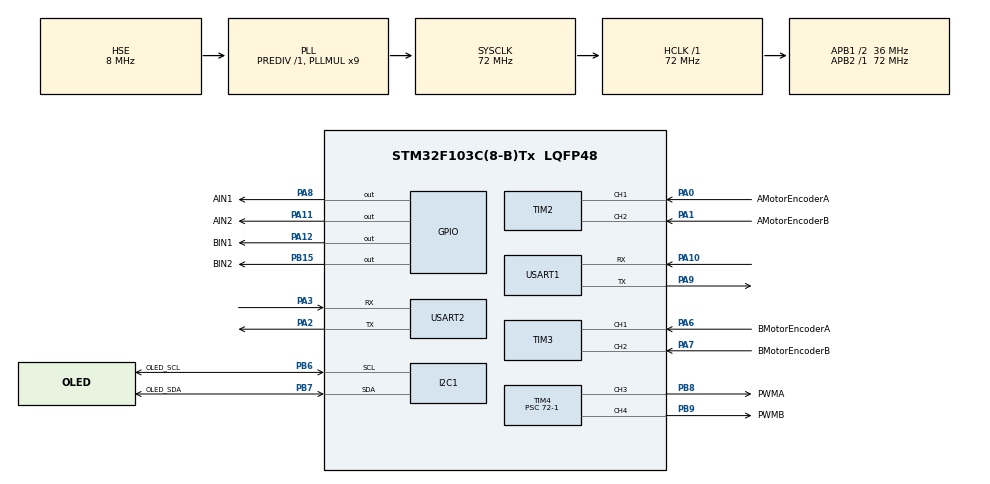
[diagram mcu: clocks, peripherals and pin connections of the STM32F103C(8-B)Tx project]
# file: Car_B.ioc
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Mcu.Family=STM32F1
Mcu.Name=STM32F103C(8-B)Tx
Mcu.Package=LQFP48
NVIC.PriorityGroup=NVIC_PRIORITYGROUP_4
NVIC.TIM1_UP_IRQn=true\:0\:0\:false\:false\:true\:true\:true\:true
PA0-WKUP.GPIO_Label=AMotorEncoderA
PA0-WKUP.Signal=S_TIM2_CH1_ETR
PA1.GPIO_Label=AMotorEncoderB
PA1.Signal=S_TIM2_CH2
PA10.Mode=Asynchronous
PA10.Signal=USART1_RX
PA11.GPIO_Label=AIN2
PA11.Signal=GPIO_Output
PA12.GPIO_Label=BIN1
PA12.Signal=GPIO_Output
PA13.Mode=Serial_Wire
PA13.Signal=SYS_JTMS-SWDIO
PA14.Mode=Serial_Wire
PA14.Signal=SYS_JTCK-SWCLK
PA2.Mode=Asynchronous
PA2.Signal=USART2_TX
PA3.Mode=Asynchronous
PA3.Signal=USART2_RX
PA6.GPIO_Label=BMotorEncoderA
PA6.Signal=S_TIM3_CH1
PA7.GPIO_Label=BMotorEncoderB
PA7.Signal=S_TIM3_CH2
PA8.GPIO_Label=AIN1
PA8.Signal=GPIO_Output
PA9.Mode=Asynchronous
PA9.Signal=USART1_TX
PB15.GPIO_Label=BIN2
PB15.Signal=GPIO_Output
PB6.GPIO_Label=OLED_SCL
PB6.Mode=I2C
PB6.Signal=I2C1_SCL
PB7.GPIO_Label=OLED_SDA
PB7.Mode=I2C
PB7.Signal=I2C1_SDA
PB8.GPIO_Label=PWMA
PB8.Signal=S_TIM4_CH3
PB9.GPIO_Label=PWMB
PB9.Signal=S_TIM4_CH4
PC14-OSC32_IN.Mode=LSE-External-Oscillator
PC14-OSC32_IN.Signal=RCC_OSC32_IN
PC15-OSC32_OUT.Mode=LSE-External-Oscillator
PC15-OSC32_OUT.Signal=RCC_OSC32_OUT
PD0-OSC_IN.Mode=HSE-External-Oscillator
PD0-OSC_IN.Signal=RCC_OSC_IN
PD1-OSC_OUT.Mode=HSE-External-Oscillator
PD1-OSC_OUT.Signal=RCC_OSC_OUT
ProjectManager.HeapSize=0x200
ProjectManager.StackSize=0x400
ProjectManager.TargetToolchain=MDK-ARM V5.32
RCC.AHBFreq_Value=72000000
RCC.APB1CLKDivider=RCC_HCLK_DIV2
RCC.APB1Freq_Value=36000000
RCC.APB1TimFreq_Value=72000000
RCC.APB2Freq_Value=72000000
RCC.APB2TimFreq_Value=72000000
RCC.HCLKFreq_Value=72000000
RCC.PLLMUL=RCC_PLL_MUL9
RCC.PLLSourceVirtual=RCC_PLLSOURCE_HSE
RCC.SYSCLKFreq_VALUE=72000000
RCC.SYSCLKSource=RCC_SYSCLKSOURCE_PLLCLK
RCC.USBFreq_Value=72000000
SH.S_TIM2_CH1_ETR.0=TIM2_CH1,Encoder_Interface
SH.S_TIM2_CH2.0=TIM2_CH2,Encoder_Interface
SH.S_TIM3_CH1.0=TIM3_CH1,Encoder_Interface
SH.S_TIM3_CH2.0=TIM3_CH2,Encoder_Interface
SH.S_TIM4_CH3.0=TIM4_CH3,PWM Generation3 CH3
SH.S_TIM4_CH4.0=TIM4_CH4,PWM Generation4 CH4
TIM1.AutoReloadPreload=TIM_AUTORELOAD_PRELOAD_ENABLE
TIM1.Period=10000-1
TIM1.Prescaler=72-1
TIM2.AutoReloadPreload=TIM_AUTORELOAD_PRELOAD_ENABLE
TIM2.EncoderMode=TIM_ENCODERMODE_TI12
TIM3.EncoderMode=TIM_ENCODERMODE_TI12
TIM4.Channel-PWM\ Generation3\ CH3=TIM_CHANNEL_3
TIM4.Channel-PWM\ Generation4\ CH4=TIM_CHANNEL_4
TIM4.Period=100-1
TIM4.Prescaler=72-1
USART1.VirtualMode=VM_ASYNC
USART2.VirtualMode=VM_ASYNC
VP_TIM1_VS_ClockSourceINT.Mode=Internal
VP_TIM4_VS_ClockSourceINT.Mode=Internal
board=custom

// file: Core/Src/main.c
/* USER CODE BEGIN Header */
/**
 ******************************************************************************
 * @file           : main.c
 * @brief          : Main program body
 ******************************************************************************
 * @attention
 *
 * Copyright (c) 2023 STMicroelectronics.
 * All rights reserved.
 *
 * This software is licensed under terms that can be found in the LICENSE file
 * in the root directory of this software component.
 * If no LICENSE file comes with this software, it is provided AS-IS.
 *
 ******************************************************************************
 */
/* USER CODE END Header */
#include "main.h"
#include "i2c.h"
#include "tim.h"
#include "usart.h"
#include "gpio.h"

/* USER CODE BEGIN Includes */
#include "motor.h"
#include "pid.h"
#include "oled.h"
#include "stdio.h"
#include "string.h"
/* USER CODE END Includes */

/* USER CODE BEGIN PTD */
PID leftMotor_PID;
PID rightMotor_PID;
PID trailMotor_PID;
/* USER CODE END PTD */

/* USER CODE BEGIN PV */
int testPWM = 20;
char voltage[20];
char mpuString[10];
char speedString[22];
char CCDString[20];
char colorPostion[20];
int tim1Count = 0; // 中断计时
float batteryVoltage = 0.0;

short encoderPulse[2] = {0}; // 编码器脉冲数
float leftSpeed = 0, rightSpeed = 0;

float leftTargetSpeed = 0.10, rightTargetSpeed = 0.10;

uint8_t Uart2RxBuff;         // 进入中断接收数据的数组
uint8_t Uart2DataBuff[5000]; // 保存接收到的数据的数组
int RxLine = 0;              // 接收到的数据长度
int Uart2RxFlag = 0;         // 串口2接收标志位

int RedX = 0, RedY = 0;
int Basic_1_Status = 0, Basic_2_Status = 0;

int girdsNum = -1;      // 格子数量
int girdsNumStatus = 0; // 格子数量状态量，用于判断是否持续扫描到黑线
int backStatus = 0;     // 基础1返程标志

int ledGreenCount = 0;
int ledRedCount = 0;
int mode[5] = {0};
/* USER CODE END PV */

void SystemClock_Config(void);

int main(void)
{

  /* MCU Configuration--------------------------------------------------------*/

  /* Reset of all peripherals, Initializes the Flash interface and the Systick. */
  HAL_Init();

  /* Configure the system clock */
  SystemClock_Config();

  /* Initialize all configured peripherals */
  MX_GPIO_Init();
  MX_I2C1_Init();
  MX_TIM1_Init();
  MX_TIM2_Init();
  MX_TIM3_Init();
  MX_TIM4_Init();
  MX_USART1_UART_Init();
  MX_USART2_UART_Init();
  /* USER CODE BEGIN 2 */
  // OLED_Init(); // 初始化OLED
  // OLED_Clear();

  HAL_TIM_Base_Start_IT(&htim1); // 启动定时器1中断
  // HAL_UART_Receive_IT(&huart2, &Uart2RxBuff, 1); // 串口2接收中断
  HAL_TIM_PWM_Start(&htim4, TIM_CHANNEL_3);
  HAL_TIM_PWM_Start(&htim4, TIM_CHANNEL_4);
  HAL_TIM_Encoder_Start(&htim2, TIM_CHANNEL_1);
  HAL_TIM_Encoder_Start(&htim2, TIM_CHANNEL_2);
  HAL_TIM_Encoder_Start(&htim3, TIM_CHANNEL_1);
  HAL_TIM_Encoder_Start(&htim3, TIM_CHANNEL_2); // start encoder timer
  __HAL_TIM_ENABLE_IT(&htim2, TIM_IT_UPDATE);
  __HAL_TIM_ENABLE_IT(&htim3, TIM_IT_UPDATE); // start encoder timer to update interrupts and prevent overflow processing

  __HAL_TIM_SET_COUNTER(&htim2, 0);
  __HAL_TIM_SET_COUNTER(&htim3, 0); // initialize encoder timing and set it to 3000

  Speed_PID_Init(&leftMotor_PID);
  Speed_PID_Init(&rightMotor_PID);
  Trail_PID_Init(&trailMotor_PID);
  /* USER CODE END 2 */

  /* Infinite loop */
  while (1)
  {

  }
}

void SystemClock_Config(void)
{
  RCC_OscInitTypeDef RCC_OscInitStruct = {0};
  RCC_ClkInitTypeDef RCC_ClkInitStruct = {0};

  /** Initializes the RCC Oscillators according to the specified parameters
   * in the RCC_OscInitTypeDef structure.
   */
  RCC_OscInitStruct.OscillatorType = RCC_OSCILLATORTYPE_HSE;
  RCC_OscInitStruct.HSEState = RCC_HSE_ON;
  RCC_OscInitStruct.HSEPredivValue = RCC_HSE_PREDIV_DIV1;
  RCC_OscInitStruct.HSIState = RCC_HSI_ON;
  RCC_OscInitStruct.PLL.PLLState = RCC_PLL_ON;
  RCC_OscInitStruct.PLL.PLLSource = RCC_PLLSOURCE_HSE;
  RCC_OscInitStruct.PLL.PLLMUL = RCC_PLL_MUL9;
  if (HAL_RCC_OscConfig(&RCC_OscInitStruct) != HAL_OK)
  {
    Error_Handler();
  }

  /** Initializes the CPU, AHB and APB buses clocks
   */
  RCC_ClkInitStruct.ClockType = RCC_CLOCKTYPE_HCLK | RCC_CLOCKTYPE_SYSCLK | RCC_CLOCKTYPE_PCLK1 | RCC_CLOCKTYPE_PCLK2;
  RCC_ClkInitStruct.SYSCLKSource = RCC_SYSCLKSOURCE_PLLCLK;
  RCC_ClkInitStruct.AHBCLKDivider = RCC_SYSCLK_DIV1;
  RCC_ClkInitStruct.APB1CLKDivider = RCC_HCLK_DIV2;
  RCC_ClkInitStruct.APB2CLKDivider = RCC_HCLK_DIV1;

  if (HAL_RCC_ClockConfig(&RCC_ClkInitStruct, FLASH_LATENCY_2) != HAL_OK)
  {
    Error_Handler();
  }
}

/* USER CODE BEGIN 4 */
void HAL_TIM_PeriodElapsedCallback(TIM_HandleTypeDef *htim)
{
  if (htim == &htim1) // htim1 100Hz 10ms
  {
    GetEncoderPulse();
    leftSpeed = CalActualSpeed(encoderPulse[0]); // 获得当前的速度值
    rightSpeed = CalActualSpeed(encoderPulse[1]);

    Speed_PID(leftTargetSpeed, leftSpeed, &leftMotor_PID); // 根据目标速度和实际速度计算PID参数
    Speed_PID(rightTargetSpeed, rightSpeed, &rightMotor_PID);

    MotorControl(leftMotor_PID.PWM, rightMotor_PID.PWM);
  }
}
/* USER CODE END 4 */

void Error_Handler(void)
{
  __disable_irq();
  while (1)
  {
  }
}
